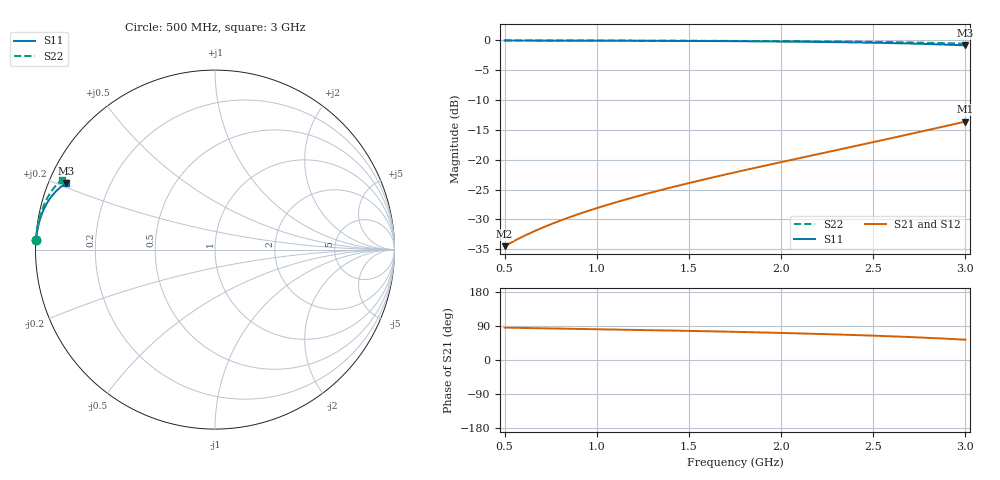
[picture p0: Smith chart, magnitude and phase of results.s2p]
! rfsim (KiCad + openEMS)
# HZ S RI R 50
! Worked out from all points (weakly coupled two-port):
!   251 points, 500 MHz to 3 GHz, reference 50 ohm
!   highest |S21| = -13.60 dB at 3 GHz (marker M1); lowest = -34.5 dB at 500 MHz (marker M2)
!   lowest |S11| = -0.8 dB at 3 GHz (marker M3), VSWR 20.86, Z = 2.5 + j10.6 ohm
!   |S11| at or under -10 dB: nowhere
!   |S22| runs from -0.6 to 0.0 dB; largest |S21 - S12| = 0.0051
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5e8  -0.9971 0.0542  0.0015 0.0188  0.00157 0.0188  -0.9975 0.0556
5.4e8  -0.9967 0.0586  0.00174 0.0203  0.00182 0.0203  -0.9971 0.0601
5.9e8  -0.9961 0.0641  0.00207 0.0223  0.00217 0.0223  -0.9966 0.0657
6.4e8  -0.9955 0.0696  0.00242 0.0242  0.00254 0.0242  -0.996 0.0713
6.9e8  -0.9948 0.075  0.00281 0.0262  0.00295 0.0262  -0.9954 0.0769
7.4e8  -0.9941 0.0805  0.00321 0.0282  0.00338 0.0281  -0.9948 0.0826
8e8  -0.9932 0.0871  0.00374 0.0306  0.00394 0.0305  -0.9939 0.0894
9.2e8  -0.9911 0.1004  0.00493 0.0355  0.0052 0.0354  -0.9921 0.103
1.01e9  -0.9893 0.1105  0.00597 0.0393  0.00629 0.0392  -0.9906 0.1134
1.11e9  -0.9871 0.1219  0.00727 0.0437  0.00767 0.0435  -0.9886 0.125
1.22e9  -0.9843 0.1345  0.00893 0.0486  0.00941 0.0485  -0.9862 0.138
1.34e9  -0.9808 0.1486  0.011 0.0542  0.0116 0.054  -0.9833 0.1525
1.53e9  -0.9743 0.1712  0.0151 0.0637  0.0158 0.0633  -0.9776 0.1759
1.75e9  -0.9648 0.1983  0.0211 0.0755  0.0222 0.075  -0.9695 0.204
1.97e9  -0.9529 0.2264  0.0291 0.0887  0.0304 0.0879  -0.9593 0.2333
2.17e9  -0.9393 0.253  0.0385 0.1018  0.0401 0.1007  -0.9476 0.2612
2.39e9  -0.9202 0.2834  0.0523 0.1179  0.0542 0.1162  -0.9312 0.2935
2.59e9  -0.8979 0.3119  0.0692 0.1338  0.0714 0.1315  -0.912 0.3244
2.7e9  -0.8831 0.3276  0.0808 0.143  0.0831 0.1403  -0.899 0.3418
2.8e9  -0.8677 0.3418  0.0931 0.1515  0.0956 0.1484  -0.8856 0.3577
2.9e9  -0.8502 0.3556  0.1074 0.16  0.1099 0.1563  -0.8702 0.3737
3e9  -0.8303 0.3688  0.1239 0.1682  0.1265 0.1639  -0.8526 0.3894
